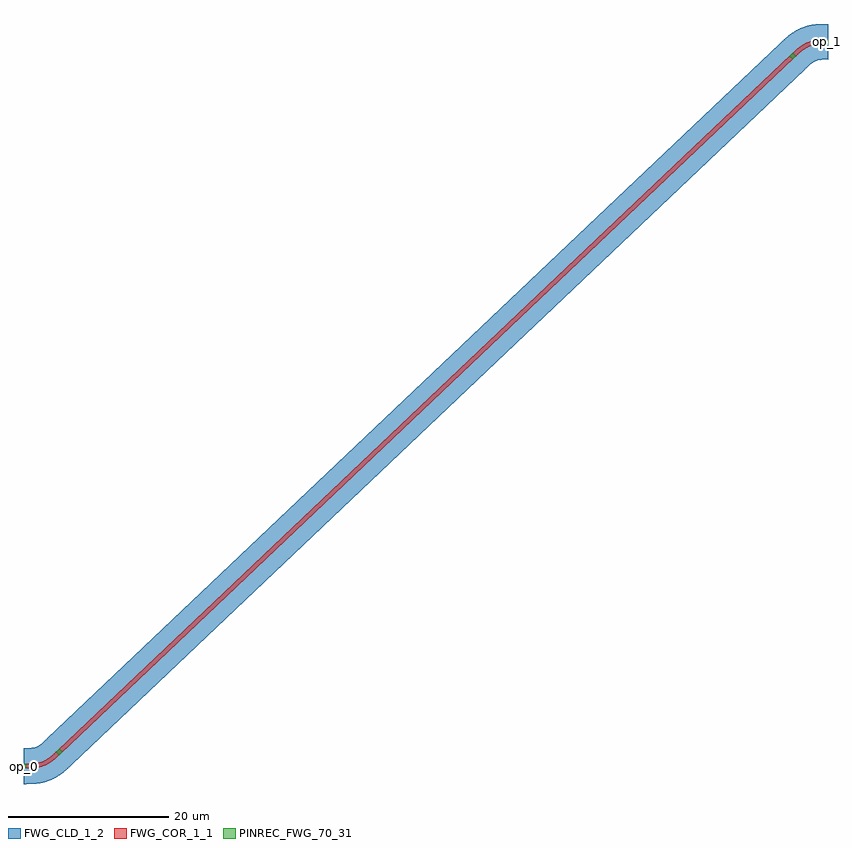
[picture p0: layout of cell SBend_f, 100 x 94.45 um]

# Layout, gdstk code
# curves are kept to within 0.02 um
from math import pi, radians
import gdstk
lib = gdstk.Library(unit=1e-6, precision=1e-09)
def R(c, l, rs):  # rectangles x0, y0, x1, y1
    for r in rs: c.add(gdstk.rectangle(r[:2], r[2:], *l))
def P(c, l, *ps):  # polygons
    for p in ps: c.add(gdstk.Polygon(p, *l))
FWG_COR_1_1 = (1, 1)
FWG_CLD_1_2 = (1, 2)
PINREC_FWG_70_31 = (70, 31)

c_wg = lib.new_cell('wg')
P(c_wg, FWG_COR_1_1, [(0,0.275),(1.357,0.324),(1.874,0.413),(2.316,0.549),(2.777,0.773),(3.213,1.064),(3.668,1.439),(4.231,1.963),(4.61,1.564),(3.859,0.877),(3.353,0.488),(2.791,0.157),(2.231,-0.061),(1.711,-0.181),(1.247,-0.24),(0,-0.275)])
P(c_wg, FWG_CLD_1_2, [(0,2.225),(1.063,2.254),(1.609,2.366),(2.098,2.667),(2.889,3.377),(5.952,0.149),(5.171,-0.567),(4.522,-1.074),(3.883,-1.473),(3.222,-1.781),(2.532,-2),(1.723,-2.15),(0.854,-2.216),(0,-2.225)])
R(c_wg, PINREC_FWG_70_31, [(0,-0.275,0.3,0.275)])
P(c_wg, PINREC_FWG_70_31, [(4.014,1.756),(4.231,1.963),(4.61,1.564),(4.392,1.357)])
c_wg.add(gdstk.Label('op_0', (0.15,0), layer=70, texttype=41))
c_wg.add(gdstk.Label('op_1', (4.312,1.66), layer=70, texttype=41))

bendeuler = lib.new_cell('BendEuler')
R(bendeuler, PINREC_FWG_70_31, [(0,-0.275,0.3,0.275)])
P(bendeuler, PINREC_FWG_70_31, [(4.014,1.756),(4.231,1.963),(4.61,1.564),(4.392,1.357)])
bendeuler.add(gdstk.Reference(c_wg, (0,0)))
bendeuler.add(gdstk.Label('op_0', (0.15,0), layer=70, texttype=41))
bendeuler.add(gdstk.Label('op_1', (4.312,1.66), layer=70, texttype=41))

wg_x1 = lib.new_cell('wg_x1')
P(wg_x1, FWG_COR_1_1, [(-45.769,-43.037),(45.39,43.436),(45.769,43.037),(-45.39,-43.436)])
P(wg_x1, FWG_CLD_1_2, [(-47.111,-41.623),(44.048,44.851),(45.39,43.436),(45.769,43.037),(47.111,41.623),(-44.048,-44.851),(-45.39,-43.436),(-45.769,-43.037)])
P(wg_x1, PINREC_FWG_70_31, [(-45.173,-43.23),(-45.39,-43.436),(-45.769,-43.037),(-45.551,-42.831)],
  [(45.173,43.23),(45.39,43.436),(45.769,43.037),(45.551,42.831)])
wg_x1.add(gdstk.Label('op_0', (-45.471,-43.134), layer=70, texttype=41))
wg_x1.add(gdstk.Label('op_1', (45.471,43.134), layer=70, texttype=41))

straightbetween = lib.new_cell('StraightBetween')
P(straightbetween, PINREC_FWG_70_31, [(-45.173,-43.23),(-45.39,-43.436),(-45.769,-43.037),(-45.551,-42.831)],
  [(45.173,43.23),(45.39,43.436),(45.769,43.037),(45.551,42.831)])
straightbetween.add(gdstk.Reference(wg_x1, (0,0)))
straightbetween.add(gdstk.Label('op_0', (-45.471,-43.134), layer=70, texttype=41))
straightbetween.add(gdstk.Label('op_1', (45.471,43.134), layer=70, texttype=41))

sbend_f = lib.new_cell('SBend_f')
R(sbend_f, PINREC_FWG_70_31, [(-50,-45.275,-49.7,-44.725), (49.7,44.725,50,45.275)])
sbend_f.add(gdstk.Reference(bendeuler, (-50,-45)))
sbend_f.add(gdstk.Reference(bendeuler, (50,45), rotation=pi))
sbend_f.add(gdstk.Reference(straightbetween, (0,0)))
sbend_f.add(gdstk.Label('op_0', (-49.85,-45), layer=70, texttype=41))
sbend_f.add(gdstk.Label('op_1', (49.85,45), layer=70, texttype=41))

lib.write_gds('SBend_f.gds')
